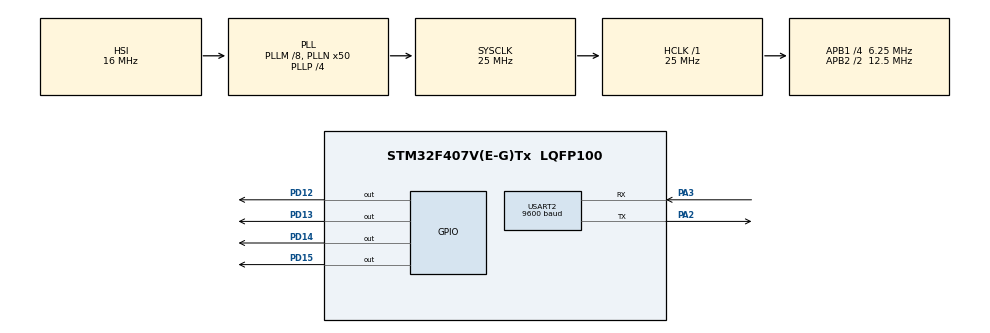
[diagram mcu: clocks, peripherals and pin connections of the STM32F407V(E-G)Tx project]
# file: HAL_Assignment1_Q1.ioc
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Mcu.Family=STM32F4
Mcu.Name=STM32F407V(E-G)Tx
Mcu.Package=LQFP100
NVIC.PriorityGroup=NVIC_PRIORITYGROUP_0
PA2.Mode=Asynchronous
PA2.Signal=USART2_TX
PA3.Mode=Asynchronous
PA3.Signal=USART2_RX
PD12.Signal=GPIO_Output
PD13.Signal=GPIO_Output
PD14.Signal=GPIO_Output
PD15.Signal=GPIO_Output
ProjectManager.HeapSize=0x200
ProjectManager.StackSize=0x400
ProjectManager.TargetToolchain=STM32CubeIDE
RCC.48MHZClocksFreq_Value=14285714.285714285
RCC.AHBFreq_Value=25000000
RCC.APB1CLKDivider=RCC_HCLK_DIV4
RCC.APB1Freq_Value=6250000
RCC.APB1TimFreq_Value=12500000
RCC.APB2CLKDivider=RCC_HCLK_DIV2
RCC.APB2Freq_Value=12500000
RCC.APB2TimFreq_Value=25000000
RCC.CortexFreq_Value=25000000
RCC.HCLKFreq_Value=25000000
RCC.HSE_VALUE=8000000
RCC.HSI_VALUE=16000000
RCC.LSE_VALUE=32768
RCC.PLLM=8
RCC.PLLN=50
RCC.PLLP=RCC_PLLP_DIV4
RCC.PLLQ=7
RCC.SYSCLKFreq_VALUE=25000000
RCC.SYSCLKSource=RCC_SYSCLKSOURCE_PLLCLK
RCC.VCOOutputFreq_Value=100000000
USART2.BaudRate=9600
USART2.VirtualMode=VM_ASYNC
board=STM32F407G-DISC1

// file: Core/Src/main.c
/* USER CODE BEGIN Header */
/**
  ******************************************************************************
  * @file           : main.c
  * @brief          : Main program body
  ******************************************************************************
  * @attention
  *
  * Copyright (c) 2026 STMicroelectronics.
  * All rights reserved.
  *
  * This software is licensed under terms that can be found in the LICENSE file
  * in the root directory of this software component.
  * If no LICENSE file comes with this software, it is provided AS-IS.
  *
  ******************************************************************************
  */
/* USER CODE END Header */
#include "main.h"

UART_HandleTypeDef huart2;

void SystemClock_Config(void);
static void MX_GPIO_Init(void);
static void MX_USART2_UART_Init(void);

/* USER CODE BEGIN 0 */
uint8_t UARTgetint(void)
{
	uint8_t ch;
	do{
		HAL_UART_Receive(&huart2, &ch, 1, HAL_MAX_DELAY);

	   }while(ch != '1' && ch != '2' && ch != '3' && ch != '4');
	return ch;

}
/* USER CODE END 0 */

int main(void)
{

  /* MCU Configuration--------------------------------------------------------*/

  /* Reset of all peripherals, Initializes the Flash interface and the Systick. */
  HAL_Init();

  /* Configure the system clock */
  SystemClock_Config();

  /* Initialize all configured peripherals */
  MX_GPIO_Init();
  MX_USART2_UART_Init();
  /* USER CODE BEGIN 2 */
  HAL_UART_Transmit(&huart2, (uint8_t *)"MENU\n\r1. RED\n\r2. GREEN\n\r3. BLUE\n\r4. ORANGE\n\r", 44, HAL_MAX_DELAY);
  /* USER CODE END 2 */

  /* Infinite loop */
  /* USER CODE BEGIN WHILE */
  while (1)
  {
	  uint8_t ch;
	  ch = UARTgetint();
	  if(ch == '1')
	  {
		  HAL_GPIO_WritePin(GPIOD, GPIO_PIN_14, GPIO_PIN_SET);
		  HAL_Delay(1000);
		  HAL_GPIO_WritePin(GPIOD, GPIO_PIN_14, GPIO_PIN_RESET);
	  }
	  if(ch == '2')
	  {
		  HAL_GPIO_WritePin(GPIOD, GPIO_PIN_12, GPIO_PIN_SET);
		  HAL_Delay(1000);
		  HAL_GPIO_WritePin(GPIOD, GPIO_PIN_12, GPIO_PIN_RESET);
	  }
	  if(ch == '3')
	  {
		  HAL_GPIO_WritePin(GPIOD, GPIO_PIN_15, GPIO_PIN_SET);
		  HAL_Delay(1000);
		  HAL_GPIO_WritePin(GPIOD, GPIO_PIN_15, GPIO_PIN_RESET);
	  }
	  if(ch == '4')
	  {
		  HAL_GPIO_WritePin(GPIOD, GPIO_PIN_13, GPIO_PIN_SET);
		  HAL_Delay(1000);
		  HAL_GPIO_WritePin(GPIOD, GPIO_PIN_13, GPIO_PIN_RESET);
	  }

	  HAL_Delay(500);
    /* USER CODE END WHILE */

  }
}

void SystemClock_Config(void)
{
  RCC_OscInitTypeDef RCC_OscInitStruct = {0};
  RCC_ClkInitTypeDef RCC_ClkInitStruct = {0};

  /** Configure the main internal regulator output voltage
  */
  __HAL_RCC_PWR_CLK_ENABLE();
  __HAL_PWR_VOLTAGESCALING_CONFIG(PWR_REGULATOR_VOLTAGE_SCALE1);

  /** Initializes the RCC Oscillators according to the specified parameters
  * in the RCC_OscInitTypeDef structure.
  */
  RCC_OscInitStruct.OscillatorType = RCC_OSCILLATORTYPE_HSI;
  RCC_OscInitStruct.HSIState = RCC_HSI_ON;
  RCC_OscInitStruct.HSICalibrationValue = RCC_HSICALIBRATION_DEFAULT;
  RCC_OscInitStruct.PLL.PLLState = RCC_PLL_ON;
  RCC_OscInitStruct.PLL.PLLSource = RCC_PLLSOURCE_HSI;
  RCC_OscInitStruct.PLL.PLLM = 8;
  RCC_OscInitStruct.PLL.PLLN = 50;
  RCC_OscInitStruct.PLL.PLLP = RCC_PLLP_DIV4;
  RCC_OscInitStruct.PLL.PLLQ = 7;
  if (HAL_RCC_OscConfig(&RCC_OscInitStruct) != HAL_OK)
  {
    Error_Handler();
  }

  /** Initializes the CPU, AHB and APB buses clocks
  */
  RCC_ClkInitStruct.ClockType = RCC_CLOCKTYPE_HCLK|RCC_CLOCKTYPE_SYSCLK
                              |RCC_CLOCKTYPE_PCLK1|RCC_CLOCKTYPE_PCLK2;
  RCC_ClkInitStruct.SYSCLKSource = RCC_SYSCLKSOURCE_PLLCLK;
  RCC_ClkInitStruct.AHBCLKDivider = RCC_SYSCLK_DIV1;
  RCC_ClkInitStruct.APB1CLKDivider = RCC_HCLK_DIV4;
  RCC_ClkInitStruct.APB2CLKDivider = RCC_HCLK_DIV2;

  if (HAL_RCC_ClockConfig(&RCC_ClkInitStruct, FLASH_LATENCY_0) != HAL_OK)
  {
    Error_Handler();
  }
}

static void MX_USART2_UART_Init(void)
{

  huart2.Instance = USART2;
  huart2.Init.BaudRate = 9600;
  huart2.Init.WordLength = UART_WORDLENGTH_8B;
  huart2.Init.StopBits = UART_STOPBITS_1;
  huart2.Init.Parity = UART_PARITY_NONE;
  huart2.Init.Mode = UART_MODE_TX_RX;
  huart2.Init.HwFlowCtl = UART_HWCONTROL_NONE;
  huart2.Init.OverSampling = UART_OVERSAMPLING_16;
  if (HAL_UART_Init(&huart2) != HAL_OK)
  {
    Error_Handler();
  }

}

static void MX_GPIO_Init(void)
{
  GPIO_InitTypeDef GPIO_InitStruct = {0};

  /* GPIO Ports Clock Enable */
  __HAL_RCC_GPIOA_CLK_ENABLE();
  __HAL_RCC_GPIOD_CLK_ENABLE();

  /*Configure GPIO pin Output Level */
  HAL_GPIO_WritePin(GPIOD, GPIO_PIN_12|GPIO_PIN_13|GPIO_PIN_14|GPIO_PIN_15, GPIO_PIN_RESET);

  /*Configure GPIO pins : PD12 PD13 PD14 PD15 */
  GPIO_InitStruct.Pin = GPIO_PIN_12|GPIO_PIN_13|GPIO_PIN_14|GPIO_PIN_15;
  GPIO_InitStruct.Mode = GPIO_MODE_OUTPUT_PP;
  GPIO_InitStruct.Pull = GPIO_NOPULL;
  GPIO_InitStruct.Speed = GPIO_SPEED_FREQ_LOW;
  HAL_GPIO_Init(GPIOD, &GPIO_InitStruct);

}

void Error_Handler(void)
{
  __disable_irq();
  while (1)
  {
  }
}
